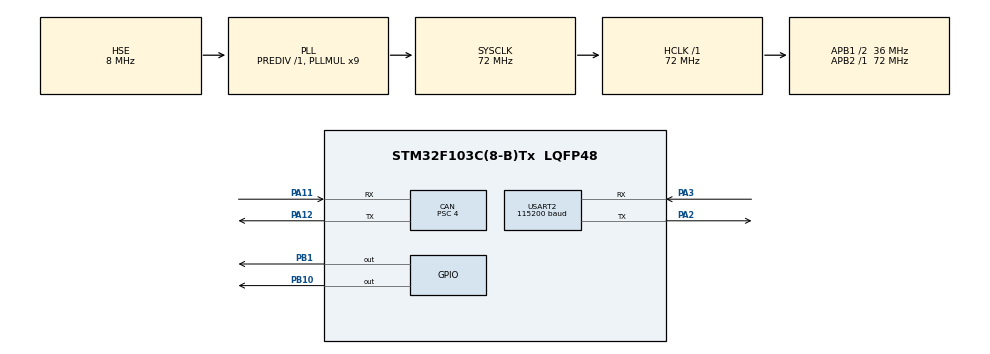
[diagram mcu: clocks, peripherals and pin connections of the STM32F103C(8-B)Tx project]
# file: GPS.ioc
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CAN.BS1=CAN_BS1_15TQ
CAN.BS2=CAN_BS2_2TQ
CAN.CalculateBaudRate=500000
CAN.CalculateTimeBit=2000
CAN.CalculateTimeQuantum=111.11111111111111
CAN.Prescaler=4
Dma.Request0=USART2_RX
Dma.USART2_RX.0.Direction=DMA_PERIPH_TO_MEMORY
Dma.USART2_RX.0.Instance=DMA1_Channel6
Dma.USART2_RX.0.MemDataAlignment=DMA_MDATAALIGN_BYTE
Dma.USART2_RX.0.MemInc=DMA_MINC_ENABLE
Dma.USART2_RX.0.Mode=DMA_NORMAL
Dma.USART2_RX.0.PeriphDataAlignment=DMA_PDATAALIGN_BYTE
Dma.USART2_RX.0.PeriphInc=DMA_PINC_DISABLE
Dma.USART2_RX.0.Priority=DMA_PRIORITY_LOW
Mcu.Family=STM32F1
Mcu.Name=STM32F103C(8-B)Tx
Mcu.Package=LQFP48
NVIC.DMA1_Channel6_IRQn=true\:2\:0\:true\:false\:true\:false\:true\:true
NVIC.PriorityGroup=NVIC_PRIORITYGROUP_4
NVIC.TIM4_IRQn=true\:15\:0\:false\:false\:true\:false\:true\:true
NVIC.TimeBase=TIM4_IRQn
NVIC.TimeBaseIP=TIM4
NVIC.USART2_IRQn=true\:6\:0\:true\:false\:true\:true\:true\:true
NVIC.USB_HP_CAN1_TX_IRQn=true\:4\:0\:true\:false\:true\:true\:true\:true
NVIC.USB_LP_CAN1_RX0_IRQn=true\:4\:0\:true\:false\:true\:true\:true\:true
PA11.Mode=CAN_Activate
PA11.Signal=CAN_RX
PA12.Mode=CAN_Activate
PA12.Signal=CAN_TX
PA13.Mode=Serial_Wire
PA13.Signal=SYS_JTMS-SWDIO
PA14.Mode=Serial_Wire
PA14.Signal=SYS_JTCK-SWCLK
PA2.Mode=Asynchronous
PA2.Signal=USART2_TX
PA3.Mode=Asynchronous
PA3.Signal=USART2_RX
PB1.PinState=GPIO_PIN_SET
PB1.Signal=GPIO_Output
PB10.GPIO_PuPd=GPIO_NOPULL
PB10.PinState=GPIO_PIN_SET
PB10.Signal=GPIO_Output
PD0-OSC_IN.Mode=HSE-External-Oscillator
PD0-OSC_IN.Signal=RCC_OSC_IN
PD1-OSC_OUT.Mode=HSE-External-Oscillator
PD1-OSC_OUT.Signal=RCC_OSC_OUT
ProjectManager.HeapSize=0x200
ProjectManager.StackSize=0x400
ProjectManager.TargetToolchain=STM32CubeIDE
RCC.AHBFreq_Value=72000000
RCC.APB1CLKDivider=RCC_HCLK_DIV2
RCC.APB1Freq_Value=36000000
RCC.APB1TimFreq_Value=72000000
RCC.APB2Freq_Value=72000000
RCC.APB2TimFreq_Value=72000000
RCC.HCLKFreq_Value=72000000
RCC.PLLMUL=RCC_PLL_MUL9
RCC.PLLSourceVirtual=RCC_PLLSOURCE_HSE
RCC.SYSCLKFreq_VALUE=72000000
RCC.SYSCLKSource=RCC_SYSCLKSOURCE_PLLCLK
RCC.USBFreq_Value=72000000
USART2.BaudRate=115200
USART2.VirtualMode=VM_ASYNC
VP_SYS_VS_tim4.Mode=TIM4
board=custom

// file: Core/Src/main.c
/* USER CODE BEGIN Header */
/**
  ******************************************************************************
  * @file           : main.c
  * @brief          : Main program body
  ******************************************************************************
  * @attention
  *
  * Copyright (c) 2024 STMicroelectronics.
  * All rights reserved.
  *
  * This software is licensed under terms that can be found in the LICENSE file
  * in the root directory of this software component.
  * If no LICENSE file comes with this software, it is provided AS-IS.
  *
  ******************************************************************************
  */
/* USER CODE END Header */
#include "main.h"
#include "can.h"
#include "dma.h"
#include "usart.h"
#include "gpio.h"

/* USER CODE BEGIN Includes */
#include "gpshandle.h"
#include <stdio.h>
#include "GPS_StateMachine.h"
#include "CAN_Handle.h"
/* USER CODE END Includes */

/* USER CODE BEGIN PV */

uint16_t oldPos = 0;
uint16_t newPos = 0;
uint8_t RxBuffer[RxBuffer_SIZE];
uint8_t DataBuffer[DataBuffer_SIZE];

GPS myData;
uint8_t Signalready=0;
uint8_t IsValid=0;
GPS_State gpsstate;
ErrCounter ErrCnt;
uint8_t Data[8];
extern uint8_t Lat[4];
extern uint8_t Long[4];
extern uint8_t Can_RecFlag;
//GPS_State currentstate;
/* USER CODE END PV */

void SystemClock_Config(void);
/* USER CODE BEGIN PFP */
extern UART_HandleTypeDef huart2;
extern DMA_HandleTypeDef hdma_usart2_rx;

/* USER CODE END PFP */

/* USER CODE BEGIN 0 */
void HAL_UARTEx_RxEventCallback(UART_HandleTypeDef *huart, uint16_t Size)
{
	if (huart->Instance == USART2){
    oldPos = newPos; //keep track of the last position in the buffer
    if(oldPos + Size > DataBuffer_SIZE){ //if the buffer is full, parse it, then reset the buffer

        uint16_t datatocopy = DataBuffer_SIZE-oldPos;  // find out how much space is left in the main buffer
        memcpy ((uint8_t *)DataBuffer+oldPos, RxBuffer, datatocopy);  // copy data in that remaining space

        oldPos = 0;  // point to the start of the buffer
        memcpy ((uint8_t *)DataBuffer, (uint8_t *)RxBuffer+datatocopy, (Size-datatocopy));  // copy the remaining data
        newPos = (Size-datatocopy);  // update the position
    }
    else{
        memcpy((uint8_t *)DataBuffer+oldPos, RxBuffer, Size); //copy received data to the buffer
        newPos = Size+oldPos; //update buffer position

    }
    HAL_UARTEx_ReceiveToIdle_DMA(&huart2, (uint8_t *)RxBuffer, RxBuffer_SIZE); //re-enable the DMA interrupt
    __HAL_DMA_DISABLE_IT(&hdma_usart2_rx, DMA_IT_HT); //disable the half transfer interrupt
    Signalready=1;
	}
}
/* USER CODE END 0 */

int main(void)
{

  /* MCU Configuration--------------------------------------------------------*/

  /* Reset of all peripherals, Initializes the Flash interface and the Systick. */
  HAL_Init();

  /* Configure the system clock */
  SystemClock_Config();

  /* Initialize all configured peripherals */
  MX_GPIO_Init();
  MX_DMA_Init();
  MX_USART2_UART_Init();
  MX_CAN_Init();
  /* USER CODE BEGIN 2 */
  HAL_UARTEx_ReceiveToIdle_DMA(&huart2, (uint8_t *)RxBuffer, RxBuffer_SIZE);
  __HAL_DMA_DISABLE_IT(&hdma_usart2_rx, DMA_IT_HT);
  CAN_Config_filtering(0,0x502);
  // int Serialcnt = 0;
   gpsstate=GPS_INIT;
   if(HAL_CAN_ActivateNotification(&hcan, CAN_IT_TX_MAILBOX_EMPTY|CAN_IT_RX_FIFO0_MSG_PENDING)!=HAL_OK){

	   HAL_GPIO_WritePin(GPIOB, GPIO_PIN_3,GPIO_PIN_RESET);
	   					HAL_GPIO_WritePin(GPIOB, GPIO_PIN_10,GPIO_PIN_SET);
	   					HAL_Delay(2000);
  	 HAL_CAN_ResetError(&hcan);
  	NVIC_SystemReset();
   }
    if(HAL_CAN_Start(&hcan)!=HAL_OK){
    	  HAL_GPIO_WritePin(GPIOB, GPIO_PIN_3,GPIO_PIN_RESET);
    		   					HAL_GPIO_WritePin(GPIOB, GPIO_PIN_10,GPIO_PIN_SET);
    		   					HAL_Delay(2000);
  	  HAL_CAN_ResetError(&hcan);
  	  NVIC_SystemReset();
   } else {
	   HAL_GPIO_WritePin(GPIOB, GPIO_PIN_1,GPIO_PIN_RESET);
	   gpsstate=GPS_WAIT_SIGNAL;
   }
    memset(Data,0x55,8);
    memset(Lat,0,4);
    memset(Long,0,4);
  /* USER CODE END 2 */

  /* Infinite loop */
  while (1)
  {

    /* USER CODE BEGIN 3 */
	     switch(gpsstate){
	     case GPS_WAIT_SIGNAL:
	    	 gps_wait_signal();
	    	 break;
	     case GPS_GETDATA:
	    	 gps_getdata();
	     	    	 break;
	     case GPS_CHECK_SIGNAL:
	    	 gps_check_signal();
	     	    	 break;
	     case GPS_SENDDATA:
	    	 gps_send_data();
	     	    	 break;
	     case GPS_SENDERRORDATA:
	    	 send_error_signal();
	    	     	 break;
	     case GPS_RECOVERY:
	    	 gps_recovery();
	     	    	 break;
	     case GPS_PROCESS:
	    	 gps_process();
	     	    	 break;
//	  if(CAN_HandleSendData(0x402,Data,8)==HAL_OK){
//	  		 HAL_GPIO_WritePin(GPIOB, GPIO_PIN_10,GPIO_PIN_RESET);
//	  			gpsstate=GPS_GETDATA;
//	  		}
//	  if(Can_RecFlag==1){
//		  HAL_GPIO_WritePin(GPIOB, GPIO_PIN_3,GPIO_PIN_RESET);
//		  HAL_GPIO_WritePin(GPIOB, GPIO_PIN_10,GPIO_PIN_SET);
//	  }
//	     case SEND_ERROR_SIGNAL:
//	     	     	 break;
	     HAL_Delay(10);
	     }
  }
  /* USER CODE END 3 */
}

void SystemClock_Config(void)
{
  RCC_OscInitTypeDef RCC_OscInitStruct = {0};
  RCC_ClkInitTypeDef RCC_ClkInitStruct = {0};

  /** Initializes the RCC Oscillators according to the specified parameters
  * in the RCC_OscInitTypeDef structure.
  */
  RCC_OscInitStruct.OscillatorType = RCC_OSCILLATORTYPE_HSE;
  RCC_OscInitStruct.HSEState = RCC_HSE_ON;
  RCC_OscInitStruct.HSEPredivValue = RCC_HSE_PREDIV_DIV1;
  RCC_OscInitStruct.HSIState = RCC_HSI_ON;
  RCC_OscInitStruct.PLL.PLLState = RCC_PLL_ON;
  RCC_OscInitStruct.PLL.PLLSource = RCC_PLLSOURCE_HSE;
  RCC_OscInitStruct.PLL.PLLMUL = RCC_PLL_MUL9;
  if (HAL_RCC_OscConfig(&RCC_OscInitStruct) != HAL_OK)
  {
    Error_Handler();
  }

  /** Initializes the CPU, AHB and APB buses clocks
  */
  RCC_ClkInitStruct.ClockType = RCC_CLOCKTYPE_HCLK|RCC_CLOCKTYPE_SYSCLK
                              |RCC_CLOCKTYPE_PCLK1|RCC_CLOCKTYPE_PCLK2;
  RCC_ClkInitStruct.SYSCLKSource = RCC_SYSCLKSOURCE_PLLCLK;
  RCC_ClkInitStruct.AHBCLKDivider = RCC_SYSCLK_DIV1;
  RCC_ClkInitStruct.APB1CLKDivider = RCC_HCLK_DIV2;
  RCC_ClkInitStruct.APB2CLKDivider = RCC_HCLK_DIV1;

  if (HAL_RCC_ClockConfig(&RCC_ClkInitStruct, FLASH_LATENCY_2) != HAL_OK)
  {
    Error_Handler();
  }
}

void HAL_TIM_PeriodElapsedCallback(TIM_HandleTypeDef *htim)
{
  if (htim->Instance == TIM4) {
    HAL_IncTick();
  }
}

void Error_Handler(void)
{
  __disable_irq();
  while (1)
  {
  }
}
